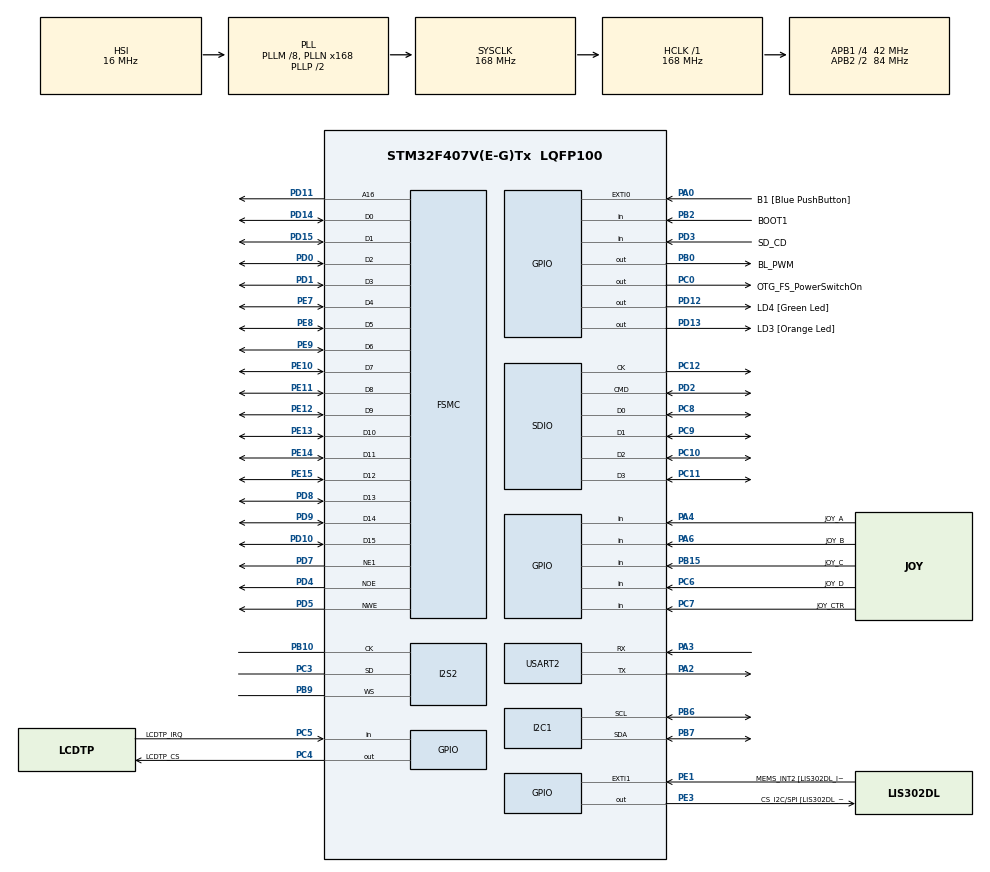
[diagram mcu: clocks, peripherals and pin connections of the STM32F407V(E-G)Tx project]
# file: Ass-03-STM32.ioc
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Dma.Request0=SDIO_RX
Dma.Request1=SDIO_TX
Dma.Request2=SPI2_TX
Dma.SDIO_RX.0.Direction=DMA_PERIPH_TO_MEMORY
Dma.SDIO_RX.0.FIFOMode=DMA_FIFOMODE_ENABLE
Dma.SDIO_RX.0.FIFOThreshold=DMA_FIFO_THRESHOLD_FULL
Dma.SDIO_RX.0.Instance=DMA2_Stream3
Dma.SDIO_RX.0.MemBurst=DMA_MBURST_INC4
Dma.SDIO_RX.0.MemDataAlignment=DMA_MDATAALIGN_WORD
Dma.SDIO_RX.0.MemInc=DMA_MINC_ENABLE
Dma.SDIO_RX.0.Mode=DMA_PFCTRL
Dma.SDIO_RX.0.PeriphBurst=DMA_PBURST_INC4
Dma.SDIO_RX.0.PeriphDataAlignment=DMA_PDATAALIGN_WORD
Dma.SDIO_RX.0.PeriphInc=DMA_PINC_DISABLE
Dma.SDIO_RX.0.Priority=DMA_PRIORITY_LOW
Dma.SDIO_TX.1.Direction=DMA_MEMORY_TO_PERIPH
Dma.SDIO_TX.1.FIFOMode=DMA_FIFOMODE_ENABLE
Dma.SDIO_TX.1.FIFOThreshold=DMA_FIFO_THRESHOLD_FULL
Dma.SDIO_TX.1.Instance=DMA2_Stream6
Dma.SDIO_TX.1.MemBurst=DMA_MBURST_INC4
Dma.SDIO_TX.1.MemDataAlignment=DMA_MDATAALIGN_WORD
Dma.SDIO_TX.1.MemInc=DMA_MINC_ENABLE
Dma.SDIO_TX.1.Mode=DMA_PFCTRL
Dma.SDIO_TX.1.PeriphBurst=DMA_PBURST_INC4
Dma.SDIO_TX.1.PeriphDataAlignment=DMA_PDATAALIGN_WORD
Dma.SDIO_TX.1.PeriphInc=DMA_PINC_DISABLE
Dma.SDIO_TX.1.Priority=DMA_PRIORITY_LOW
Dma.SPI2_TX.2.Direction=DMA_MEMORY_TO_PERIPH
Dma.SPI2_TX.2.FIFOMode=DMA_FIFOMODE_ENABLE
Dma.SPI2_TX.2.FIFOThreshold=DMA_FIFO_THRESHOLD_FULL
Dma.SPI2_TX.2.Instance=DMA1_Stream4
Dma.SPI2_TX.2.MemBurst=DMA_MBURST_SINGLE
Dma.SPI2_TX.2.MemDataAlignment=DMA_MDATAALIGN_HALFWORD
Dma.SPI2_TX.2.MemInc=DMA_MINC_ENABLE
Dma.SPI2_TX.2.Mode=DMA_NORMAL
Dma.SPI2_TX.2.PeriphBurst=DMA_PBURST_SINGLE
Dma.SPI2_TX.2.PeriphDataAlignment=DMA_PDATAALIGN_HALFWORD
Dma.SPI2_TX.2.PeriphInc=DMA_PINC_DISABLE
Dma.SPI2_TX.2.Priority=DMA_PRIORITY_LOW
FATFS._USE_LFN=3
FREERTOS.BinarySemaphores01=myBinarySem01
FREERTOS.CountingSemaphores01=myCountingSem01,2,Dynamic,NULL
FREERTOS.Mutexes01=myMutex01
FREERTOS.Queues01=myQueue01,16,uint16_t,NULL
FREERTOS.Tasks01=defaultTask,0,512,StartDefaultTask,Default,NULL,Dynamic,NULL,NULL;myTask02,0,512,StartTask02,Default,NULL,Dynamic,NULL,NULL;myTask03,0,512,StartTask03,Default,NULL,Dynamic,NULL,NULL
FREERTOS.Timers01=myTimer01,Callback01,osTimerPeriodic,Default,NULL,Dynamic,NULL
FREERTOS.configUSE_COUNTING_SEMAPHORES=1
FREERTOS.configUSE_TIMERS=1
FSMC.AddressSetupTime1=2
FSMC.BusTurnAroundDuration1=0
FSMC.DataSetupTime1=13
I2S2.AudioFreq=I2S_AUDIOFREQ_8K
I2S2.ErrorAudioFreq=-0.12 %
I2S2.RealAudioFreq=7.99 KHz
Mcu.Family=STM32F4
Mcu.Name=STM32F407V(E-G)Tx
Mcu.Package=LQFP100
NVIC.DMA1_Stream4_IRQn=true\:5\:0\:false\:false\:true\:true
NVIC.DMA2_Stream3_IRQn=true\:5\:0\:false\:false\:true\:true
NVIC.DMA2_Stream6_IRQn=true\:5\:0\:false\:false\:true\:true
NVIC.PriorityGroup=NVIC_PRIORITYGROUP_4
NVIC.SPI2_IRQn=true\:5\:0\:false\:false\:true\:true
NVIC.TIM1_UP_TIM10_IRQn=true\:5\:0\:false\:false\:true\:true
NVIC.TimeBase=TIM1_UP_TIM10_IRQn
NVIC.TimeBaseIP=TIM1
NVIC.USART2_IRQn=true\:5\:0\:false\:false\:true\:true
PA0-WKUP.GPIO_Label=B1 [Blue PushButton]
PA0-WKUP.Signal=GPXTI0
PA10.GPIO_Label=OTG_FS_ID
PA10.GPIO_Mode=GPIO_MODE_AF_PP
PA10.GPIO_PuPd=GPIO_NOPULL
PA10.GPIO_Speed=GPIO_SPEED_FREQ_LOW
PA10.Signal=USB_OTG_FS_ID
PA11.GPIO_Label=OTG_FS_DM
PA11.GPIO_Mode=GPIO_MODE_AF_PP
PA11.GPIO_PuPd=GPIO_NOPULL
PA11.GPIO_Speed=GPIO_SPEED_FREQ_LOW
PA11.Signal=USB_OTG_FS_DM
PA12.GPIO_Label=OTG_FS_DP
PA12.GPIO_Mode=GPIO_MODE_AF_PP
PA12.GPIO_PuPd=GPIO_NOPULL
PA12.GPIO_Speed=GPIO_SPEED_FREQ_LOW
PA12.Signal=USB_OTG_FS_DP
PA13.GPIO_Label=SWDIO
PA13.Signal=SYS_JTMS-SWDIO
PA14.GPIO_Label=SWCLK
PA14.Signal=SYS_JTCK-SWCLK
PA2.Mode=Asynchronous
PA2.Signal=USART2_TX
PA3.Mode=Asynchronous
PA3.Signal=USART2_RX
PA4.GPIO_Label=JOY_A
PA4.GPIO_Mode=GPIO_MODE_INPUT
PA4.GPIO_PuPd=GPIO_PULLUP
PA4.Signal=GPIO_Input
PA5.GPIO_Label=SPI1_SCK [LIS302DL_SCL/SPC]
PA5.GPIO_Mode=GPIO_MODE_AF_PP
PA5.GPIO_PuPd=GPIO_NOPULL
PA5.GPIO_Speed=GPIO_SPEED_FREQ_LOW
PA5.Signal=SPI1_SCK
PA6.GPIO_Label=JOY_B
PA6.GPIO_Mode=GPIO_MODE_INPUT
PA6.GPIO_PuPd=GPIO_PULLUP
PA6.Signal=GPIO_Input
PA7.GPIO_Label=SPI1_MOSI [LIS302DL_SDA/SDI/SDO]
PA7.GPIO_Mode=GPIO_MODE_AF_PP
PA7.GPIO_PuPd=GPIO_NOPULL
PA7.GPIO_Speed=GPIO_SPEED_FREQ_LOW
PA7.Signal=SPI1_MOSI
PA9.GPIO_Label=VBUS_FS
PA9.GPIO_Mode=GPIO_MODE_INPUT
PA9.GPIO_PuPd=GPIO_NOPULL
PA9.Signal=USB_OTG_FS_VBUS
PB0.GPIO_Label=BL_PWM
PB0.Signal=GPIO_Output
PB10.Mode=Half_Duplex_Master
PB10.Signal=I2S2_CK
PB15.GPIO_Label=JOY_C
PB15.GPIO_Mode=GPIO_MODE_INPUT
PB15.GPIO_PuPd=GPIO_PULLUP
PB15.Signal=GPIO_Input
PB2.GPIO_Label=BOOT1
PB2.GPIO_Mode=GPIO_MODE_INPUT
PB2.GPIO_PuPd=GPIO_NOPULL
PB2.Signal=GPIO_Input
PB3.GPIO_Label=SWO
PB3.Signal=SYS_JTDO-SWO
PB6.Mode=I2C
PB6.Signal=I2C1_SCL
PB7.Mode=I2C
PB7.Signal=I2C1_SDA
PB9.Mode=Half_Duplex_Master
PB9.Signal=I2S2_WS
PC0.GPIO_Label=OTG_FS_PowerSwitchOn
PC0.GPIO_PuPd=GPIO_NOPULL
PC0.GPIO_Speed=GPIO_SPEED_FREQ_LOW
PC0.PinState=GPIO_PIN_SET
PC0.Signal=GPIO_Output
PC10.Mode=SD_4_bits_Wide_bus
PC10.Signal=SDIO_D2
PC11.Mode=SD_4_bits_Wide_bus
PC11.Signal=SDIO_D3
PC12.Mode=SD_4_bits_Wide_bus
PC12.Signal=SDIO_CK
PC14-OSC32_IN.GPIO_Label=PC14-OSC32_IN
PC14-OSC32_IN.Signal=RCC_OSC32_IN
PC15-OSC32_OUT.GPIO_Label=PC15-OSC32_OUT
PC15-OSC32_OUT.Signal=RCC_OSC32_OUT
PC3.Mode=Half_Duplex_Master
PC3.Signal=I2S2_SD
PC4.GPIO_Label=LCDTP_CS
PC4.GPIO_PuPd=GPIO_PULLDOWN
PC4.Signal=GPIO_Output
PC5.GPIO_Label=LCDTP_IRQ
PC5.Signal=GPIO_Input
PC6.GPIO_Label=JOY_D
PC6.GPIO_Mode=GPIO_MODE_INPUT
PC6.GPIO_PuPd=GPIO_PULLUP
PC6.Signal=GPIO_Input
PC7.GPIO_Label=JOY_CTR
PC7.GPIO_Mode=GPIO_MODE_INPUT
PC7.GPIO_PuPd=GPIO_PULLUP
PC7.Signal=GPIO_Input
PC8.Mode=SD_4_bits_Wide_bus
PC8.Signal=SDIO_D0
PC9.Mode=SD_4_bits_Wide_bus
PC9.Signal=SDIO_D1
PD0.Mode=16b-d1
PD0.Signal=FSMC_D2
PD1.Mode=16b-d1
PD1.Signal=FSMC_D3
PD10.Mode=16b-d1
PD10.Signal=FSMC_D15
PD11.Mode=A16_1
PD11.Signal=FSMC_A16
PD12.GPIO_Label=LD4 [Green Led]
PD12.GPIO_PuPd=GPIO_NOPULL
PD12.GPIO_Speed=GPIO_SPEED_FREQ_LOW
PD12.Signal=GPIO_Output
PD13.GPIO_Label=LD3 [Orange Led]
PD13.GPIO_PuPd=GPIO_NOPULL
PD13.GPIO_Speed=GPIO_SPEED_FREQ_LOW
PD13.Signal=GPIO_Output
PD14.Mode=16b-d1
PD14.Signal=FSMC_D0
PD15.Mode=16b-d1
PD15.Signal=FSMC_D1
PD2.Mode=SD_4_bits_Wide_bus
PD2.Signal=SDIO_CMD
PD3.GPIO_Label=SD_CD
PD3.Signal=GPIO_Input
PD4.Mode=Lcd1
PD4.Signal=FSMC_NOE
PD5.Mode=Lcd1
PD5.Signal=FSMC_NWE
PD7.Mode=NorPsramChipSelect1_1
PD7.Signal=FSMC_NE1
PD8.Mode=16b-d1
PD8.Signal=FSMC_D13
PD9.Mode=16b-d1
PD9.Signal=FSMC_D14
PE1.GPIO_Label=MEMS_INT2 [LIS302DL_INT2]
PE1.GPIO_ModeDefaultEXTI=GPIO_MODE_EVT_RISING
PE1.GPIO_PuPd=GPIO_NOPULL
PE1.Signal=GPXTI1
PE10.Mode=16b-d1
PE10.Signal=FSMC_D7
PE11.Mode=16b-d1
PE11.Signal=FSMC_D8
PE12.Mode=16b-d1
PE12.Signal=FSMC_D9
PE13.Mode=16b-d1
PE13.Signal=FSMC_D10
PE14.Mode=16b-d1
PE14.Signal=FSMC_D11
PE15.Mode=16b-d1
PE15.Signal=FSMC_D12
PE3.GPIO_Label=CS_I2C/SPI [LIS302DL_CS_I2C/SPI]
PE3.GPIO_PuPd=GPIO_NOPULL
PE3.GPIO_Speed=GPIO_SPEED_FREQ_LOW
PE3.Signal=GPIO_Output
PE7.Mode=16b-d1
PE7.Signal=FSMC_D4
PE8.Mode=16b-d1
PE8.Signal=FSMC_D5
PE9.Mode=16b-d1
PE9.Signal=FSMC_D6
PH0-OSC_IN.GPIO_Label=PH0-OSC_IN
PH0-OSC_IN.Signal=RCC_OSC_IN
PH1-OSC_OUT.GPIO_Label=PH1-OSC_OUT
PH1-OSC_OUT.Signal=RCC_OSC_OUT
ProjectManager.HeapSize=0x2000
ProjectManager.StackSize=0x4000
ProjectManager.TargetToolchain=SW4STM32
RCC.48MHZClocksFreq_Value=48000000
RCC.AHBFreq_Value=168000000
RCC.APB1CLKDivider=RCC_HCLK_DIV4
RCC.APB1Freq_Value=42000000
RCC.APB1TimFreq_Value=84000000
RCC.APB2CLKDivider=RCC_HCLK_DIV2
RCC.APB2Freq_Value=84000000
RCC.APB2TimFreq_Value=168000000
RCC.CortexFreq_Value=168000000
RCC.HCLKFreq_Value=168000000
RCC.HSE_VALUE=8000000
RCC.HSI_VALUE=16000000
RCC.LSE_VALUE=32768
RCC.PLLI2SN=101
RCC.PLLM=8
RCC.PLLN=168
RCC.PLLQ=7
RCC.SYSCLKFreq_VALUE=168000000
RCC.SYSCLKSource=RCC_SYSCLKSOURCE_PLLCLK
RCC.VCOOutputFreq_Value=336000000
SDIO.BusWide=SDIO_BUS_WIDE_1B
SDIO.WideMode=SDIO_BUS_WIDE_4B
VP_FATFS_VS_SDIO.Mode=SDIO
VP_FREERTOS_VS_ENABLE.Mode=Enabled
VP_SYS_VS_tim1.Mode=TIM1
board=STM32F407G-DISC1

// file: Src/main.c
/**
  ******************************************************************************
  * File Name          : main.c
  * Description        : Main program body
  ******************************************************************************
  *
  * Copyright (c) 2017 STMicroelectronics International N.V.
  * All rights reserved.
  *
  * Redistribution and use in source and binary forms, with or without
  * modification, are permitted, provided that the following conditions are met:
  *
  * 1. Redistribution of source code must retain the above copyright notice,
  *    this list of conditions and the following disclaimer.
  * 2. Redistributions in binary form must reproduce the above copyright notice,
  *    this list of conditions and the following disclaimer in the documentation
  *    and/or other materials provided with the distribution.
  * 3. Neither the name of STMicroelectronics nor the names of other
  *    contributors to this software may be used to endorse or promote products
  *    derived from this software without specific written permission.
  * 4. This software, including modifications and/or derivative works of this
  *    software, must execute solely and exclusively on microcontroller or
  *    microprocessor devices manufactured by or for STMicroelectronics.
  * 5. Redistribution and use of this software other than as permitted under
  *    this license is void and will automatically terminate your rights under
  *    this license.
  *
  * THIS SOFTWARE IS PROVIDED BY STMICROELECTRONICS AND CONTRIBUTORS "AS IS"
  * AND ANY EXPRESS, IMPLIED OR STATUTORY WARRANTIES, INCLUDING, BUT NOT
  * LIMITED TO, THE IMPLIED WARRANTIES OF MERCHANTABILITY, FITNESS FOR A
  * PARTICULAR PURPOSE AND NON-INFRINGEMENT OF THIRD PARTY INTELLECTUAL PROPERTY
  * RIGHTS ARE DISCLAIMED TO THE FULLEST EXTENT PERMITTED BY LAW. IN NO EVENT
  * SHALL STMICROELECTRONICS OR CONTRIBUTORS BE LIABLE FOR ANY DIRECT, INDIRECT,
  * INCIDENTAL, SPECIAL, EXEMPLARY, OR CONSEQUENTIAL DAMAGES (INCLUDING, BUT NOT
  * LIMITED TO, PROCUREMENT OF SUBSTITUTE GOODS OR SERVICES; LOSS OF USE, DATA,
  * OR PROFITS; OR BUSINESS INTERRUPTION) HOWEVER CAUSED AND ON ANY THEORY OF
  * LIABILITY, WHETHER IN CONTRACT, STRICT LIABILITY, OR TORT (INCLUDING
  * NEGLIGENCE OR OTHERWISE) ARISING IN ANY WAY OUT OF THE USE OF THIS SOFTWARE,
  * EVEN IF ADVISED OF THE POSSIBILITY OF SUCH DAMAGE.
  *
  ******************************************************************************
  */
#include "main.h"
#include "stm32f4xx_hal.h"
#include "cmsis_os.h"
#include "dma.h"
#include "fatfs.h"
#include "i2c.h"
#include "i2s.h"
#include "sdio.h"
#include "usart.h"
#include "gpio.h"
#include "fsmc.h"

/* USER CODE BEGIN PV */
/* Private variables ---------------------------------------------------------*/
/* USER CODE END PV */

void SystemClock_Config(void);
void Error_Handler(void);
void MX_FREERTOS_Init(void);

/* USER CODE BEGIN PFP */
/* Private function prototypes -----------------------------------------------*/
/* USER CODE END PFP */

int main(void)
{

  /* MCU Configuration----------------------------------------------------------*/

  /* Reset of all peripherals, Initializes the Flash interface and the Systick. */
  HAL_Init();

  /* Configure the system clock */
  SystemClock_Config();

  /* Initialize all configured peripherals */
  MX_GPIO_Init();
  MX_DMA_Init();
  MX_USART2_UART_Init();
  MX_FSMC_Init();
  MX_SDIO_SD_Init();
  MX_I2S2_Init();
  MX_I2C1_Init();

  /* Call init function for freertos objects (in freertos.c) */
  MX_FREERTOS_Init();

  /* Start scheduler */
  osKernelStart();

  /* We should never get here as control is now taken by the scheduler */

  /* Infinite loop */
  while (1)
  {

  }

}

/** System Clock Configuration
*/
void SystemClock_Config(void)
{

  RCC_OscInitTypeDef RCC_OscInitStruct;
  RCC_ClkInitTypeDef RCC_ClkInitStruct;
  RCC_PeriphCLKInitTypeDef PeriphClkInitStruct;

    /**Configure the main internal regulator output voltage
    */
  __HAL_RCC_PWR_CLK_ENABLE();

  __HAL_PWR_VOLTAGESCALING_CONFIG(PWR_REGULATOR_VOLTAGE_SCALE1);

    /**Initializes the CPU, AHB and APB busses clocks
    */
  RCC_OscInitStruct.OscillatorType = RCC_OSCILLATORTYPE_HSI;
  RCC_OscInitStruct.HSIState = RCC_HSI_ON;
  RCC_OscInitStruct.HSICalibrationValue = 16;
  RCC_OscInitStruct.PLL.PLLState = RCC_PLL_ON;
  RCC_OscInitStruct.PLL.PLLSource = RCC_PLLSOURCE_HSI;
  RCC_OscInitStruct.PLL.PLLM = 8;
  RCC_OscInitStruct.PLL.PLLN = 168;
  RCC_OscInitStruct.PLL.PLLP = RCC_PLLP_DIV2;
  RCC_OscInitStruct.PLL.PLLQ = 7;
  if (HAL_RCC_OscConfig(&RCC_OscInitStruct) != HAL_OK)
  {
    Error_Handler();
  }

    /**Initializes the CPU, AHB and APB busses clocks
    */
  RCC_ClkInitStruct.ClockType = RCC_CLOCKTYPE_HCLK|RCC_CLOCKTYPE_SYSCLK
                              |RCC_CLOCKTYPE_PCLK1|RCC_CLOCKTYPE_PCLK2;
  RCC_ClkInitStruct.SYSCLKSource = RCC_SYSCLKSOURCE_PLLCLK;
  RCC_ClkInitStruct.AHBCLKDivider = RCC_SYSCLK_DIV1;
  RCC_ClkInitStruct.APB1CLKDivider = RCC_HCLK_DIV4;
  RCC_ClkInitStruct.APB2CLKDivider = RCC_HCLK_DIV2;

  if (HAL_RCC_ClockConfig(&RCC_ClkInitStruct, FLASH_LATENCY_5) != HAL_OK)
  {
    Error_Handler();
  }

  PeriphClkInitStruct.PeriphClockSelection = RCC_PERIPHCLK_I2S;
  PeriphClkInitStruct.PLLI2S.PLLI2SN = 101;
  PeriphClkInitStruct.PLLI2S.PLLI2SR = 2;
  if (HAL_RCCEx_PeriphCLKConfig(&PeriphClkInitStruct) != HAL_OK)
  {
    Error_Handler();
  }

    /**Configure the Systick interrupt time
    */
  HAL_SYSTICK_Config(HAL_RCC_GetHCLKFreq()/1000);

    /**Configure the Systick
    */
  HAL_SYSTICK_CLKSourceConfig(SYSTICK_CLKSOURCE_HCLK);

  /* SysTick_IRQn interrupt configuration */
  HAL_NVIC_SetPriority(SysTick_IRQn, 15, 0);
}

void HAL_TIM_PeriodElapsedCallback(TIM_HandleTypeDef *htim)
{
  if (htim->Instance == TIM1) {
    HAL_IncTick();
  }
}

void Error_Handler(void)
{
  while(1)
  {
  }
}

/************************ (C) COPYRIGHT STMicroelectronics *****END OF FILE****/

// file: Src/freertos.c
/**
  ******************************************************************************
  * File Name          : freertos.c
  * Description        : Code for freertos applications
  ******************************************************************************
  *
  * Copyright (c) 2017 STMicroelectronics International N.V.
  * All rights reserved.
  *
  * Redistribution and use in source and binary forms, with or without
  * modification, are permitted, provided that the following conditions are met:
  *
  * 1. Redistribution of source code must retain the above copyright notice,
  *    this list of conditions and the following disclaimer.
  * 2. Redistributions in binary form must reproduce the above copyright notice,
  *    this list of conditions and the following disclaimer in the documentation
  *    and/or other materials provided with the distribution.
  * 3. Neither the name of STMicroelectronics nor the names of other
  *    contributors to this software may be used to endorse or promote products
  *    derived from this software without specific written permission.
  * 4. This software, including modifications and/or derivative works of this
  *    software, must execute solely and exclusively on microcontroller or
  *    microprocessor devices manufactured by or for STMicroelectronics.
  * 5. Redistribution and use of this software other than as permitted under
  *    this license is void and will automatically terminate your rights under
  *    this license.
  *
  * THIS SOFTWARE IS PROVIDED BY STMICROELECTRONICS AND CONTRIBUTORS "AS IS"
  * AND ANY EXPRESS, IMPLIED OR STATUTORY WARRANTIES, INCLUDING, BUT NOT
  * LIMITED TO, THE IMPLIED WARRANTIES OF MERCHANTABILITY, FITNESS FOR A
  * PARTICULAR PURPOSE AND NON-INFRINGEMENT OF THIRD PARTY INTELLECTUAL PROPERTY
  * RIGHTS ARE DISCLAIMED TO THE FULLEST EXTENT PERMITTED BY LAW. IN NO EVENT
  * SHALL STMICROELECTRONICS OR CONTRIBUTORS BE LIABLE FOR ANY DIRECT, INDIRECT,
  * INCIDENTAL, SPECIAL, EXEMPLARY, OR CONSEQUENTIAL DAMAGES (INCLUDING, BUT NOT
  * LIMITED TO, PROCUREMENT OF SUBSTITUTE GOODS OR SERVICES; LOSS OF USE, DATA,
  * OR PROFITS; OR BUSINESS INTERRUPTION) HOWEVER CAUSED AND ON ANY THEORY OF
  * LIABILITY, WHETHER IN CONTRACT, STRICT LIABILITY, OR TORT (INCLUDING
  * NEGLIGENCE OR OTHERWISE) ARISING IN ANY WAY OUT OF THE USE OF THIS SOFTWARE,
  * EVEN IF ADVISED OF THE POSSIBILITY OF SUCH DAMAGE.
  *
  ******************************************************************************
  */

#include "FreeRTOS.h"
#include "task.h"
#include "cmsis_os.h"

/* USER CODE BEGIN Includes */
// STEPIEN
#include "Ass-03.h"
/* USER CODE END Includes */

osThreadId defaultTaskHandle;
osThreadId myTask02Handle;
osThreadId myTask03Handle;
osThreadId myTaskCommandLineListenerHandle;
osThreadId audioManagerTaskHandle;
osThreadId UserInterfaceTaskHandle;
osThreadId PlaybackManagerTaskHandle;
osMessageQId myQueue01Handle;
osMessageQId myQueue01Handle;
osTimerId myTimer01Handle;
osMutexId LCDMutexHandle;

osSemaphoreId myBinarySem01Handle;
osSemaphoreId myCountingSem01Handle;

/* USER CODE BEGIN Variables */
osMessageQId ButtonQueueHandle;
osMessageQId toneFrequencyQueueHandle;
osMessageQId toneAmplitudeQueueHandle;
osMutexId audioBufferMutexHandle;
osMutexId serialOutputMutexHandle;
osMutexId DMAControllerMutexHandle;
osMutexId FSMutexHandle;
osSemaphoreId serialOutputSemHandle;
osTimerId audioPlaybackTimerHandle;
osSemaphoreId audioOutputSemHandle;
osMessageQId audioOutputQueueHandle;
/* USER CODE END Variables */

void StartDefaultTask(void const * argument);
void StartAudioManagerTask(void const * argument);
void StartTask02(void const * argument);
void StartTask03(void const * argument);
void StartCommandLineListener(void const *argument);
void Callback01(void const * argument);
void AudioPlaybackCallback(void const* argument);
void StartUserInterfaceTask(void const* argument);
void StartPlaybackManagerTask(void const * argument);

extern void MX_FATFS_Init(void);
void MX_FREERTOS_Init(void); /* (MISRA C 2004 rule 8.1) */

/* Hook prototypes */

/* Init FreeRTOS */

void MX_FREERTOS_Init(void) {

  /* Create the mutex(es) */
  /* definition and creation of myMutex01 */
  osMutexDef(LCDMutex);
  LCDMutexHandle = osMutexCreate(osMutex(LCDMutex));

  /* USER CODE BEGIN RTOS_MUTEX */

  osMutexDef(audioBufferMutex);
  audioBufferMutexHandle = osMutexCreate(osMutex(audioBufferMutex));

  osMutexDef(serialOutputMutex);
  serialOutputMutexHandle = osMutexCreate(osMutex(serialOutputMutex));

  osMutexDef(DMAControllerMutex);
  DMAControllerMutexHandle = osMutexCreate(osMutex(DMAControllerMutex));

  osMutexDef(FSMutex);
  FSMutexHandle = osMutexCreate(osMutex(FSMutex));
  osMutexWait(FSMutexHandle, osWaitForever);//Start with nothing to prevent threads from accessing filesystem before mounted
  /* USER CODE END RTOS_MUTEX */

  /* Create the semaphores(s) */
  /* definition and creation of myBinarySem01 */
  osSemaphoreDef(myBinarySem01);
  myBinarySem01Handle = osSemaphoreCreate(osSemaphore(myBinarySem01), 1);

  osSemaphoreDef(serialOutputSem);
  serialOutputSemHandle = osSemaphoreCreate(osSemaphore(serialOutputSem), 1);

  osSemaphoreDef(audioOutputSem);
  audioOutputSemHandle = osSemaphoreCreate(osSemaphore(audioOutputSem), 1);

  /* definition and creation of myCountingSem01 */
  osSemaphoreDef(myCountingSem01);
  myCountingSem01Handle = osSemaphoreCreate(osSemaphore(myCountingSem01), 2);

  /* USER CODE BEGIN RTOS_SEMAPHORES */
  /* add semaphores, ... */
  osSemaphoreWait(myBinarySem01Handle, osWaitForever); // STEPIEN: Start with nothing
  osSemaphoreWait(serialOutputSemHandle, osWaitForever);
  /* USER CODE END RTOS_SEMAPHORES */

  /* Create the timer(s) */
  /* definition and creation of myTimer01 */
  osTimerDef(myTimer01, Callback01);
  myTimer01Handle = osTimerCreate(osTimer(myTimer01), osTimerPeriodic, NULL);

  /* USER CODE BEGIN RTOS_TIMERS */
  /* start timers, add new ones, ... */

  osTimerDef(audioPlaybackTimer, AudioPlaybackCallback);
  audioPlaybackTimerHandle = osTimerCreate(osTimer(audioPlaybackTimer), osTimerPeriodic, NULL);

  // STEPIEN
  osTimerStart(myTimer01Handle, 50);
  /* USER CODE END RTOS_TIMERS */

  /* Create the thread(s) */
  /* definition and creation of defaultTask */
  osThreadDef(defaultTask, StartDefaultTask, osPriorityNormal, 0, 512);
  defaultTaskHandle = osThreadCreate(osThread(defaultTask), NULL);

  /* definition and creation of myTask02 */
  osThreadDef(myTask02, StartTask02, osPriorityNormal, 0, 512);
  myTask02Handle = osThreadCreate(osThread(myTask02), NULL);

 //definition and creation of myTask03
/*  osThreadDef(myTask03, StartTask03, osPriorityNormal, 0, 512);
  myTask03Handle = osThreadCreate(osThread(myTask03), NULL);*/

  /* definition and creation of CommandLineListener task */
  osThreadDef(CommandLineListenerTask, StartCommandLineListener, osPriorityNormal, 0, 512);
  myTaskCommandLineListenerHandle = osThreadCreate(osThread(CommandLineListenerTask), NULL);

  /* definition and creation of AudioManager task */
   osThreadDef(AudioManagerTask, StartAudioManagerTask, osPriorityNormal, 0, 512);
   audioManagerTaskHandle = osThreadCreate(osThread(AudioManagerTask), NULL);

   /*definition and creation of UserInterface task */
   osThreadDef(UserInterfaceTask, StartUserInterfaceTask, osPriorityNormal, 0, 512);
   UserInterfaceTaskHandle = osThreadCreate(osThread(UserInterfaceTask), NULL);

   /*definition and creation of PlaybackManager task */
  /* osThreadDef(PlaybackManagerTask, StartPlaybackManagerTask, osPriorityNormal, 0, 512);
   PlaybackManagerTaskHandle = osThreadCreate(osThread(PlaybackManagerTask), NULL);*/

  /* Create the queue(s) */
  /* definition and creation of myQueue01 */
  osMessageQDef(myQueue01, 16, uint16_t);
  myQueue01Handle = osMessageCreate(osMessageQ(myQueue01), NULL);

  /* USER CODE BEGIN RTOS_QUEUES */

  osMessageQDef(toneAmplitudeQueue, 16, uint16_t);
  toneAmplitudeQueueHandle = osMessageCreate(osMessageQ(toneAmplitudeQueue), NULL);

  osMessageQDef(toneFrequencyQueue, 16, uint16_t);
  toneFrequencyQueueHandle = osMessageCreate(osMessageQ(toneFrequencyQueue), NULL);

  osMessageQDef(audioOutputQueue, 16, uint16_t*);
  audioOutputQueueHandle = osMessageCreate(osMessageQ(audioOutputQueue), NULL);

  osMessageQDef(ButtonQueue, 16, uint16_t);
  ButtonQueueHandle = osMessageCreate(osMessageQ(ButtonQueue), NULL);

  /* USER CODE END RTOS_QUEUES */

}

/* StartDefaultTask function */
void StartDefaultTask(void const * argument)
{
  /* init code for FATFS */
  MX_FATFS_Init();

  /* USER CODE BEGIN StartDefaultTask */
  // STEPIEN
  Ass_03_Task_01(argument);
  /* USER CODE END StartDefaultTask */
}

/* StartTask02 function */
void StartTask02(void const * argument)
{
  /* USER CODE BEGIN StartTask02 */
  /* Infinite loop */
  // STEPIEN
  osDelay(100);
  Ass_03_Task_02(argument);
  /* USER CODE END StartTask02 */
}

/* StartTask03 function */
void StartTask03(void const * argument)
{
  /* USER CODE BEGIN StartTask03 */
  /* Infinite loop */
  // STEPIEN
  osDelay(200);
  Ass_03_Task_03(argument);
  /* USER CODE END StartTask03 */
}

/* StartCommandLineListener function */
void StartCommandLineListener(void const *argument){
	CommandLineListener(argument);
}

void StartAudioManagerTask(void const * argument){
	AudioManager(argument);
}

void StartUserInterfaceTask(void const * argument){
	UserInterface(argument);
}

void StartPlaybackManagerTask(void const * argument){
	PlaybackManager(argument);
}

/* Callback01 function */
void Callback01(void const * argument)
{
  /* USER CODE BEGIN Callback01 */

  // STEPIEN: Period timer to signal reading joystick
  osSignalSet(defaultTaskHandle, 1);

  /* USER CODE END Callback01 */
}

void AudioPlaybackCallback(void const* argument){
	audioSecondsRemaining--;
}

/* USER CODE BEGIN Application */
void HAL_UART_RxCpltCallback(UART_HandleTypeDef *huart)
{
  // STEPIEN: Signal that data is available
  osSemaphoreRelease(myBinarySem01Handle);
}

void HAL_UART_TxCpltCallback(UART_HandleTypeDef *huart)
{
	  osSemaphoreRelease(serialOutputSemHandle);
}
/* USER CODE END Application */

/************************ (C) COPYRIGHT STMicroelectronics *****END OF FILE****/
